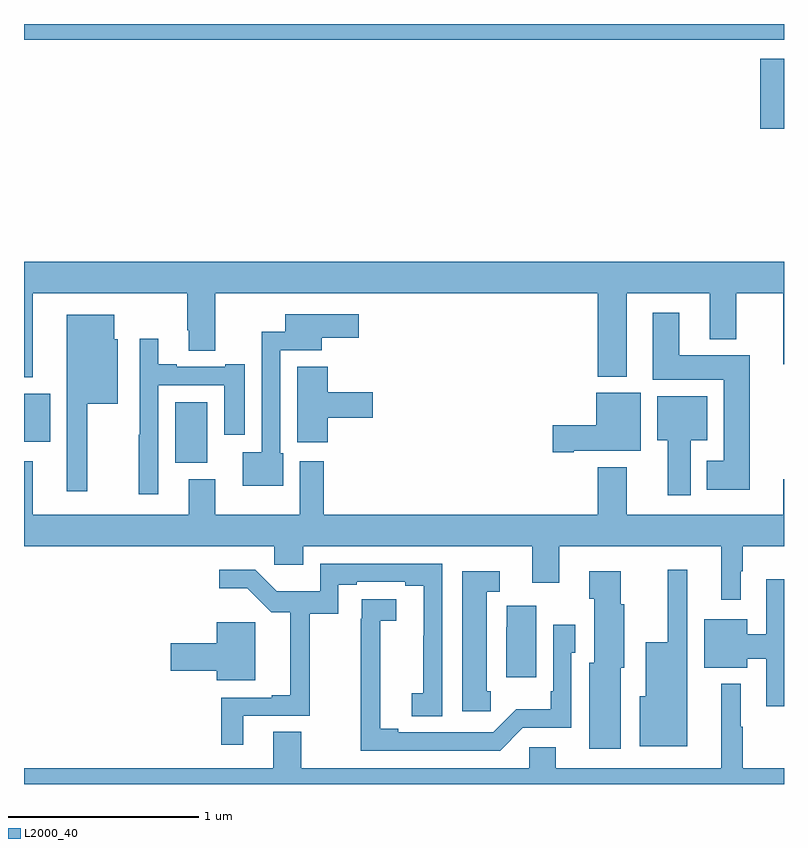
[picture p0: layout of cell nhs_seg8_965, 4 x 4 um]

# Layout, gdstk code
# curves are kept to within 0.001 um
import gdstk
lib = gdstk.Library(unit=1e-6, precision=1e-09)
def R(c, l, rs):  # rectangles x0, y0, x1, y1
    for r in rs: c.add(gdstk.rectangle(r[:2], r[2:], *l))
def P(c, l, *ps):  # polygons
    for p in ps: c.add(gdstk.Polygon(p, *l))
L2000_40 = (2000, 40)

nhs_seg8_965 = lib.new_cell('nhs_seg8_965')
R(nhs_seg8_965, L2000_40, [(173.795,1131.59,173.965,1131.91), (173,1131.701,173.137,1131.955), (176.876,1133.348,177,1133.716), (173,1133.816,177,1133.9)])
P(nhs_seg8_965, L2000_40, [(173.047,1132.484),(173.86,1132.484),(173.86,1132.288),(173.867,1132.288),(173.867,1132.18),(174.007,1132.18),(174.007,1132.484),(176.021,1132.484),(176.021,1132.043),(176.173,1132.043),(176.173,1132.484),(176.609,1132.484),(176.609,1132.241),(176.749,1132.241),(176.749,1132.484),(176.996,1132.484),(176.996,1132.11),(177,1132.11),(177,1132.648),(173,1132.648),(173,1132.04),(173.047,1132.04)],
  [(176.819,1132.156),(176.449,1132.156),(176.449,1132.381),(176.309,1132.381),(176.309,1132.028),(176.684,1132.028),(176.684,1131.601),(176.594,1131.601),(176.594,1131.449),(176.819,1131.449)],
  [(174.364,1131.642),(174.348,1131.642),(174.348,1132.182),(174.568,1132.182),(174.568,1132.25),(174.763,1132.25),(174.763,1132.372),(174.374,1132.372),(174.374,1132.28),(174.252,1132.28),(174.252,1131.646),(174.152,1131.646),(174.152,1131.47),(174.364,1131.47)],
  [(173.332,1131.902),(173.494,1131.902),(173.494,1132.242),(173.476,1132.242),(173.476,1132.369),(173.225,1132.369),(173.225,1131.441),(173.332,1131.441)],
  [(173.706,1131.999),(174.053,1131.999),(174.053,1131.738),(174.163,1131.738),(174.163,1132.108),(174.059,1132.108),(174.059,1132.095),(173.803,1132.095),(173.803,1132.108),(173.707,1132.108),(173.707,1132.243),(173.61,1132.243),(173.61,1131.738),(173.605,1131.738),(173.605,1131.426),(173.706,1131.426)],
  [(174.599,1131.827),(174.835,1131.827),(174.835,1131.961),(174.599,1131.961),(174.599,1132.096),(174.437,1132.096),(174.437,1131.699),(174.599,1131.699)],
  [(175.894,1131.653),(176.245,1131.653),(176.245,1131.958),(176.012,1131.958),(176.012,1131.788),(175.782,1131.788),(175.782,1131.646),(175.894,1131.646)],
  [(176.509,1131.71),(176.596,1131.71),(176.596,1131.94),(176.333,1131.94),(176.333,1131.71),(176.387,1131.71),(176.387,1131.42),(176.509,1131.42)],
  [(176.773,1131.02),(176.783,1131.02),(176.783,1131.152),(177,1131.152),(177,1131.505),(176.996,1131.505),(176.996,1131.316),(176.173,1131.316),(176.173,1131.568),(176.021,1131.568),(176.021,1131.316),(174.578,1131.316),(174.578,1131.598),(174.452,1131.598),(174.452,1131.316),(174.007,1131.316),(174.007,1131.505),(173.867,1131.505),(173.867,1131.316),(173.047,1131.316),(173.047,1131.598),(173,1131.598),(173,1131.152),(174.318,1131.152),(174.318,1131.054),(174.469,1131.054),(174.469,1131.152),(175.676,1131.152),(175.676,1130.958),(175.816,1130.958),(175.816,1131.152),(176.669,1131.152),(176.669,1130.871),(176.773,1130.871)],
  [(174.154,1130.259),(174.503,1130.259),(174.503,1130.797),(174.654,1130.797),(174.654,1130.95),(174.751,1130.95),(174.751,1130.964),(175.007,1130.964),(175.007,1130.944),(175.103,1130.944),(175.102,1130.377),(175.041,1130.377),(175.041,1130.257),(175.2,1130.257),(175.2,1131.06),(174.558,1131.06),(174.558,1130.914),(174.329,1130.914),(174.216,1131.027),(174.027,1131.027),(174.027,1130.93),(174.175,1130.93),(174.301,1130.805),(174.401,1130.805),(174.401,1130.368),(174.305,1130.368),(174.305,1130.355),(174.037,1130.355),(174.037,1130.106),(174.154,1130.106)],
  [(176.491,1131.028),(176.387,1131.028),(176.387,1130.647),(176.273,1130.647),(176.273,1130.362),(176.24,1130.362),(176.24,1130.099),(176.491,1130.099)],
  [(175.457,1130.388),(175.435,1130.388),(175.435,1130.911),(175.504,1130.911),(175.504,1131.019),(175.307,1131.019),(175.307,1130.283),(175.457,1130.283)],
  [(176.14,1130.511),(176.158,1130.511),(176.158,1130.847),(176.14,1130.847),(176.14,1131.019),(175.976,1131.019),(175.976,1130.874),(176,1130.874),(176,1130.538),(175.976,1130.538),(175.976,1130.085),(176.14,1130.085)],
  [(177,1130.977),(176.906,1130.977),(176.906,1130.689),(176.806,1130.689),(176.806,1130.767),(176.579,1130.767),(176.579,1130.513),(176.806,1130.513),(176.806,1130.56),(176.906,1130.56),(176.906,1130.31),(177,1130.31)],
  [(175.626,1130.196),(175.881,1130.196),(175.881,1130.592),(175.902,1130.592),(175.902,1130.737),(175.785,1130.737),(175.785,1130.389),(175.773,1130.389),(175.773,1130.293),(175.591,1130.293),(175.47,1130.172),(174.97,1130.172),(174.97,1130.192),(174.874,1130.192),(174.876,1130.758),(174.958,1130.758),(174.958,1130.873),(174.778,1130.873),(174.778,1130.771),(174.772,1130.771),(174.772,1130.076),(175.506,1130.076)],
  [(175.696,1130.839),(175.54,1130.839),(175.54,1130.726),(175.538,1130.726),(175.538,1130.463),(175.696,1130.463)],
  [(174.217,1130.752),(174.014,1130.752),(174.014,1130.642),(173.772,1130.642),(173.772,1130.495),(174.014,1130.495),(174.014,1130.447),(174.217,1130.447)],
  [(177,1129.984),(176.783,1129.984),(176.783,1130.201),(176.773,1130.201),(176.773,1130.428),(176.669,1130.428),(176.669,1129.984),(175.798,1129.984),(175.798,1130.094),(175.659,1130.094),(175.659,1129.984),(174.459,1129.984),(174.459,1130.174),(174.311,1130.174),(174.311,1129.984),(173,1129.984),(173,1129.9),(177,1129.9)])

lib.write_gds('nhs_seg8_965.gds')
